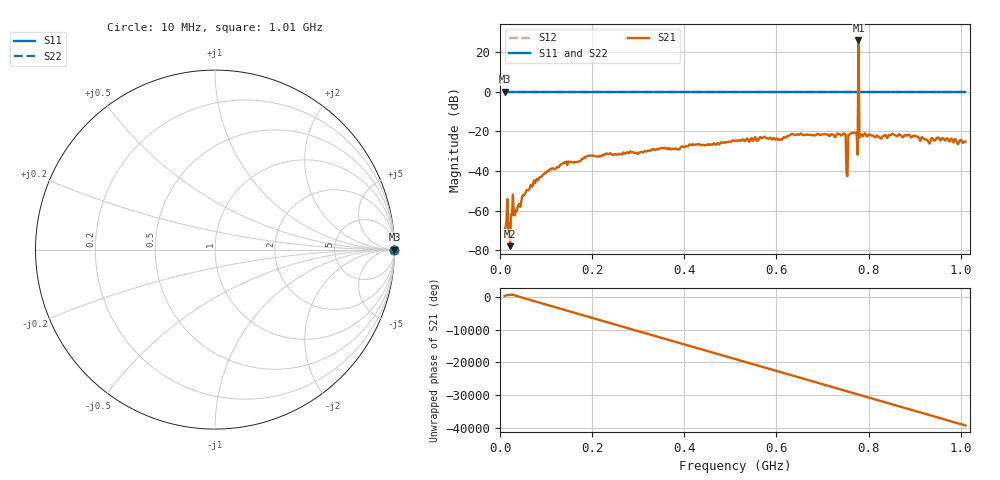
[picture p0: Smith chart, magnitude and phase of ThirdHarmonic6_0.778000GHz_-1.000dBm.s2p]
! 8/16/2025 1:59:06 AM
! C:\ANRITSUVNA\TEMP\TEMP.S2P
! CHANNEL.1
! TR.MEASUREMENT
! RAW.DATA
! RF.CORRECTION.OFF
! AVERAGING.OFF
! IF.BANDWIDTH: 5KHZ
! SWEEPTYPE:  FREQ.SWEEP(Linear)
! Reference Plane Port Info
! PORT:  PORT1  PORT2
! DISTANCE:  0  m  0  m
! TIME:  0  s  0  s
! PHASE.OFFSET:  0  deg.  0  deg.
! LOSS:  0  dB  0  dB
! REF.LOSS:  0  dB  0  dB
! REF.FREQ:  0  Hz  0  Hz
! Power Info
! POWER:  -20  dBm  -20  dBm
! EFF.POWER:  -20  dBm  -20  dBm
! SOURCE.ATTEN:  0  dB  0  dB
! TEST.ATTEN:  0  dB  0  dB
# GHZ S RI R 50.0
! FREQ.GHZ  S11RE  S11IM  S21RE  S21IM  S12RE  S12IM  S22RE  S22IM
!; PortSelection: Port_12
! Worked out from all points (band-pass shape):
!   501 points, 10 MHz to 1.01 GHz, reference 50 ohm
!   highest |S21| = 25.78 dB at 778 MHz (marker M1); lowest = -77.8 dB at 22 MHz (marker M2)
!   |S21| within 3 dB of the highest: 777.8956 MHz to 778.1226 MHz (227 kHz wide, 0.0292 % of centre)
!   lowest |S11| = 0.0 dB at 10 MHz (marker M3)
!   |S11| at or under -10 dB: nowhere
!   |S22| runs from 0.0 to 0.0 dB; largest |S21 - S12| = 20
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0.01  1 0  -0.000316 0.000114  1 0  1 0
0.016  1 0  -0.000666 0.00184  1 0  1 0
0.022  1 0  -0.000124 -3.31e-05  1 0  1 0
0.028  1 0  -0.000189 -0.00255  1 0  1 0
0.076  1 0  0.00494 -1.61e-05  1 0  1 0
0.136  1 0  0.00158 0.0154  1 0  1 0
0.178  1 0  -0.0201 -0.0031  1 0  1 0
0.344  1 0  0.0337 -0.0109  1 0  1 0
0.51  1 0  -0.0453 0.0354  1 0  1 0
0.678  1 0  -0.0747 -0.0295  1 0  1 0
0.746  1 0  0.0793 -0.0403  1 0  1 0
0.75  1 0  -0.0839 0.0102  1 0  1 0
0.754  1 0  0.00541 0.00503  1 0  1 0
0.756  1 0  0.0257 -0.0767  1 0  1 0
0.76  1 0  -0.056 0.0664  1 0  1 0
0.772  1 0  0.0918 0.00498  1 0  1 0
0.774  1 0  0.0149 -0.0895  1 0  1 0
0.778  1 0  -16.4 10.48  1 0  1 0
0.782  1 0  0.0553 -0.0621  1 0  1 0
0.784  1 0  -0.0512 -0.064  1 0  1 0
0.844  1 0  0.0767 -0.0234  1 0  1 0
1.01  1 0  -0.0148 0.0532  1 0  1 0
